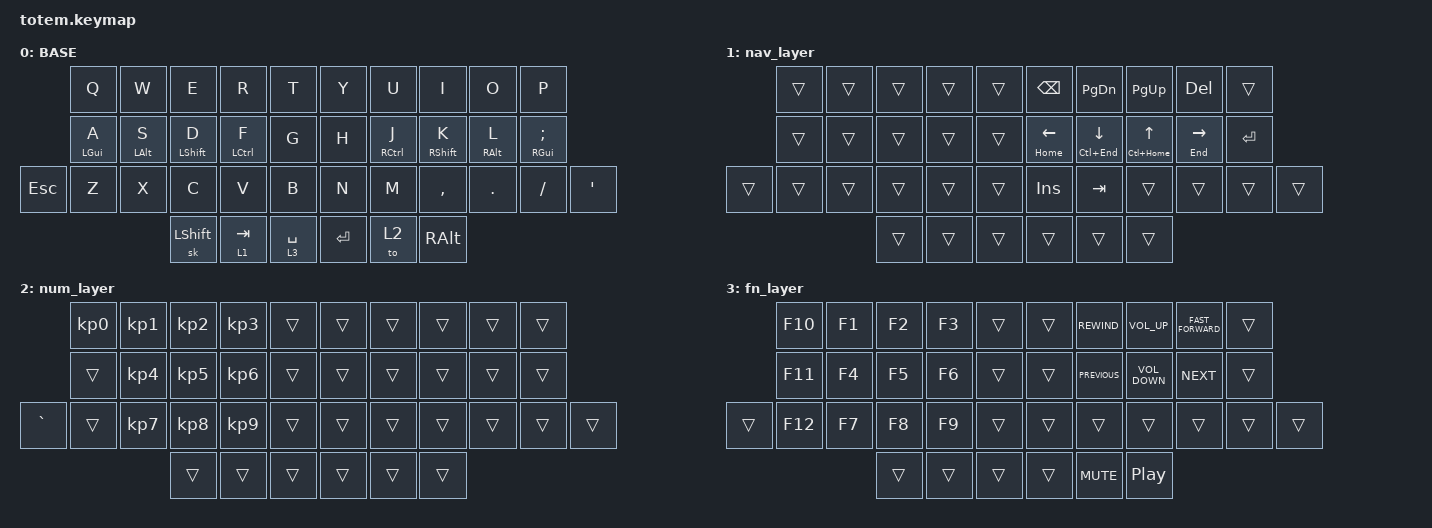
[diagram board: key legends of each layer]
//
//                                                        ▀▀▀▀▀     ▀▀▀▀▀          ▀▀█▀▀
//                                                        ▄▀▀▀▄  ▄  ▄▀▀▀▄  ▄  ▄▀▀▀▄  █  ▄▀▀▀▄
//                                                        █   █  █  █   █  █  █   █  █  █   █
//                                                         ▀▀▀   █   ▀▀▀   █   ▀▀▀   ▀   ▀▀▀
//                                                               █      ▄▄▄█▄▄▄    █   █  
//                                                               ▀      █  █  █     █▄█
//                                                             ▀▀▀▀▀    █  █  █      ▀
//                                                                      ▀  ▀  ▀
//
// ▄▄▄▄▄▄▄▄▄▄▄▄▄▄▄▄▄▄▄▄▄▄▄▄▄▄▄▄▄▄▄▄▄▄▄▄▄▄▄▄▄▄▄▄▄▄▄▄▄▄▄▄▄▄▄▄▄▄▄▄▄▄▄▄▄▄▄▄▄▄▄▄▄▄▄▄▄▄▄▄▄▄▄▄▄▄▄▄▄▄▄▄▄▄▄▄▄▄▄▄▄▄▄▄▄▄▄▄▄▄▄▄▄▄▄▄▄▄▄▄▄▄▄▄▄▄▄▄▄▄▄▄▄▄▄▄▄▄▄▄▄▄▄▄▄▄▄▄▄

#include <behaviors.dtsi>
#include <dt-bindings/zmk/keys.h>

#define BASE 0
#define NAV  1
#define SYM  2
#define ADJ  3
#define TVP1 4
#define TVP2 5

/ {
    combos {
        compatible = "zmk,combos";

        excl-sym {
            bindings = <&kp EXCLAMATION>;
            key-positions = <0 10>;
        };

        at-sym {
            bindings = <&kp AT_SIGN>;
            key-positions = <1 11>;
        };

        hash-sym {
            bindings = <&kp HASH>;
            key-positions = <2 12>;
        };

        dollar-sym {
            bindings = <&kp DOLLAR>;
            key-positions = <3 13>;
        };

        percent-sym {
            bindings = <&kp PERCENT>;
            key-positions = <4 14>;
        };

        caret-sym {
            bindings = <&kp CARET>;
            key-positions = <5 15>;
        };

        ampersand-sym {
            bindings = <&kp AMPERSAND>;
            key-positions = <18 8>;
        };

        plus-sym {
            bindings = <&kp PLUS>;
            key-positions = <6 16>;
        };

        asterisk-sym {
            bindings = <&kp ASTERISK>;
            key-positions = <7 17>;
        };

        esc {
            bindings = <&kp ESCAPE>;
            key-positions = <2 1>;
        };

        enter {
            bindings = <&kp ENTER>;
            key-positions = <2 3>;
        };

        backspace {
            bindings = <&kp BACKSPACE>;
            key-positions = <6 7>;
        };

        del {
            bindings = <&kp DEL>;
            key-positions = <7 8>;
        };

        tab {
            bindings = <&kp TAB>;
            key-positions = <11 12>;
        };
    };

    macros {
        gif: gif {
            label = "giphy";
            compatible = "zmk,behavior-macro";
            #binding-cells = <0>;
            bindings =
                <&macro_press>,
                <&kp LSHFT>,
                <&macro_tap>,
                <&kp N2>,
                <&macro_release>,
                <&kp LSHFT>,
                <&macro_tap>,
                <&kp G &kp I &kp F>;
        };
    };

    behaviors {
        hml: hml {
            compatible = "zmk,behavior-hold-tap";
            label = "HML";
            bindings = <&kp>, <&kp>;

            #binding-cells = <2>;
            tapping-term-ms = <280>;
            quick-tap-ms = <175>;
            require-prior-idle-ms = <150>;
            flavor = "balanced";
            hold-trigger-on-release;
            hold-trigger-key-positions = <32 33 34 35 36 37 5 6 7 8 9 15 16 17 18 19 26 27 28 29 30 31 36 37>;
        };

        hmr: hmr {
            compatible = "zmk,behavior-hold-tap";
            label = "HMR";
            bindings = <&kp>, <&kp>;

            #binding-cells = <2>;
            tapping-term-ms = <280>;
            quick-tap-ms = <175>;
            require-prior-idle-ms = <150>;
            flavor = "balanced";
            hold-trigger-on-release;
            hold-trigger-key-positions = <20 21 32 33 34 35 36 37 0 1 2 3 4 10 11 12 13 14 22 23 24 25>;
        };
    };

    keymap {
        compatible = "zmk,keymap";

        // ▄▄▄▄▄▄▄▄▄▄▄▄▄▄▄▄▄▄▄▄▄▄▄▄▄▄▄▄▄▄▄▄▄▄▄▄▄▄▄▄▄▄▄▄▄▄▄▄▄▄▄▄▄▄▄▄▄▄▄▄▄▄▄▄▄▄▄▄▄▄▄▄▄▄▄▄▄▄▄▄▄▄▄▄▄▄▄▄▄▄▄▄▄▄▄▄▄▄▄▄▄▄▄▄▄▄▄▄▄▄▄▄▄▄▄▄▄▄▄▄▄▄▄▄▄▄▄▄▄▄▄▄▄▄▄▄▄▄▄▄▄▄▄▄▄▄▄▄▄

        base_layer {
            // ┏━━━━━━━━━━━━━━━━━━━━━━━━━━━━━━━━━━━━━━━┓

            label = "BASE";

            // ┗━━━━━━━━━━━━━━━━━━━━━━━━━━━━━━━━━━━━━━━┛
            //             ┏━━━━━━━━━━━┳━━━━━━━━━━━┳━━━━━━━━━━━┳━━━━━━━━━━━┳━━━━━━━━━━━┓   ┏━━━━━━━━━━━┳━━━━━━━━━━━┳━━━━━━━━━━━┳━━━━━━━━━━━┳━━━━━━━━━━━┓
            //             ┃     Q     ┃     W     ┃     F     ┃     P     ┃     G     ┃   ┃     J     ┃     L     ┃     U     ┃     Y     ┃     ;     ┃
            //             ┣━━━━━━━━━━━╋━━━━━━━━━━━╋━━━━━━━━━━━╋━━━━━━━━━━━╋━━━━━━━━━━━┫   ┣━━━━━━━━━━━╋━━━━━━━━━━━╋━━━━━━━━━━━╋━━━━━━━━━━━╋━━━━━━━━━━━┫
            //             ┃     A     ┃     R     ┃     S     ┃     T     ┃     D     ┃   ┃     H     ┃     N     ┃     E     ┃     I     ┃     O     ┃
            // ┏━━━━━━━━━━━╋━━━━━━━━━━━╋━━━━━━━━━━━╋━━━━━━━━━━━╋━━━━━━━━━━━╋━━━━━━━━━━━┫   ┣━━━━━━━━━━━╋━━━━━━━━━━━╋━━━━━━━━━━━╋━━━━━━━━━━━╋━━━━━━━━━━━╋━━━━━━━━━━━┓
            // ┃     Q     ┃     Z     ┃     X     ┃     C     ┃     V     ┃     B     ┃   ┃     K     ┃     M     ┃     ,     ┃     .     ┃     /     ┃     \     ┃
            // ┗━━━━━━━━━━━┻━━━━━━━━━━━┻━━━━━━━━━━━╋━━━━━━━━━━━╋━━━━━━━━━━━╋━━━━━━━━━━━┫   ┣━━━━━━━━━━━╋━━━━━━━━━━━╋━━━━━━━━━━━╋━━━━━━━━━━━┻━━━━━━━━━━━┻━━━━━━━━━━━┛
            //                                     ┃    DEL    ┃    TAB    ┃    SPC    ┃   ┃   ENTER   ┃           ┃   BSPC    ┃
            //                                     ┗━━━━━━━━━━━┻━━━━━━━━━━━┻━━━━━━━━━━━┛   ┗━━━━━━━━━━━┻━━━━━━━━━━━┻━━━━━━━━━━━┛

            bindings = <
         &kp Q            &kp W            &kp E              &kp R                &kp T          &kp Y    &kp U                 &kp I               &kp O             &kp P
         &hml LEFT_GUI A  &hml LEFT_ALT S  &hml LEFT_SHIFT D  &hml LEFT_CONTROL F  &kp G          &kp H    &hmr RIGHT_CONTROL J  &hmr RIGHT_SHIFT K  &hmr RIGHT_ALT L  &hmr RIGHT_GUI SEMI
&kp ESC  &kp Z            &kp X            &kp C              &kp V                &kp B          &kp N    &kp M                 &kp COMMA           &kp DOT           &kp FSLH             &kp SQT
                                           &sk LEFT_SHIFT     &lt 1 TAB            &lt 3 SPACE    &kp RET  &to 2                 &kp RIGHT_ALT
            >;
        };

        nav_layer {
            bindings = <
        &trans  &trans  &trans  &trans  &trans    &kp BACKSPACE        &kp PAGE_DOWN           &kp PAGE_UP            &kp DEL              &trans
        &trans  &trans  &trans  &trans  &trans    &mt HOME LEFT_ARROW  &mt LC(END) DOWN_ARROW  &mt LC(HOME) UP_ARROW  &mt END RIGHT_ARROW  &kp ENTER
&trans  &trans  &trans  &trans  &trans  &trans    &kp INS              &kp TAB                 &trans                 &trans               &trans     &trans
                        &trans  &trans  &trans    &trans               &trans                  &trans
            >;
        };

        num_layer {
            bindings = <
           &kp KP_NUMBER_0  &kp KP_NUMBER_1  &kp KP_NUMBER_2  &kp KP_NUMBER_3  &trans    &trans  &trans  &trans  &trans  &trans
           &trans           &kp KP_NUMBER_4  &kp KP_NUMBER_5  &kp KP_NUMBER_6  &trans    &trans  &trans  &trans  &trans  &trans
&kp GRAVE  &trans           &kp KP_NUMBER_7  &kp KP_NUMBER_8  &kp KP_NUMBER_9  &trans    &trans  &trans  &trans  &trans  &trans  &trans
                                             &trans           &trans           &trans    &trans  &trans  &trans
            >;
        };

        fn_layer {
            bindings = <
        &kp F10  &kp F1  &kp F2  &kp F3  &trans    &trans  &kp C_REWIND    &kp C_VOLUME_UP    &kp C_FAST_FORWARD  &trans
        &kp F11  &kp F4  &kp F5  &kp F6  &trans    &trans  &kp C_PREVIOUS  &kp C_VOLUME_DOWN  &kp C_NEXT          &trans
&trans  &kp F12  &kp F7  &kp F8  &kp F9  &trans    &trans  &trans          &trans             &trans              &trans  &trans
                         &trans  &trans  &trans    &trans  &kp C_MUTE      &kp C_PLAY_PAUSE
            >;
        };

        // ▄▄▄▄▄▄▄▄▄▄▄▄▄▄▄▄▄▄▄▄▄▄▄▄▄▄▄▄▄▄▄▄▄▄▄▄▄▄▄▄▄▄▄▄▄▄▄▄▄▄▄▄▄▄▄▄▄▄▄▄▄▄▄▄▄▄▄▄▄▄▄▄▄▄▄▄▄▄▄▄▄▄▄▄▄▄▄▄▄▄▄▄▄▄▄▄▄▄▄▄▄▄▄▄▄▄▄▄▄▄▄▄▄▄▄▄▄▄▄▄▄▄▄▄▄▄▄▄▄▄▄▄▄▄▄▄▄▄▄▄▄▄▄▄▄▄▄▄▄
        // ▄▄▄▄▄▄▄▄▄▄▄▄▄▄▄▄▄▄▄▄▄▄▄▄▄▄▄▄▄▄▄▄▄▄▄▄▄▄▄▄▄▄▄▄▄▄▄▄▄▄▄▄▄▄▄▄▄▄▄▄▄▄▄▄▄▄▄▄▄▄▄▄▄▄▄▄▄▄▄▄▄▄▄▄▄▄▄▄▄▄▄▄▄▄▄▄▄▄▄▄▄▄▄▄▄▄▄▄▄▄▄▄▄▄▄▄▄▄▄▄▄▄▄▄▄▄▄▄▄▄▄▄▄▄▄▄▄▄▄▄▄▄▄▄▄▄▄▄▄
        // ▄▄▄▄▄▄▄▄▄▄▄▄▄▄▄▄▄▄▄▄▄▄▄▄▄▄▄▄▄▄▄▄▄▄▄▄▄▄▄▄▄▄▄▄▄▄▄▄▄▄▄▄▄▄▄▄▄▄▄▄▄▄▄▄▄▄▄▄▄▄▄▄▄▄▄▄▄▄▄▄▄▄▄▄▄▄▄▄▄▄▄▄▄▄▄▄▄▄▄▄▄▄▄▄▄▄▄▄▄▄▄▄▄▄▄▄▄▄▄▄▄▄▄▄▄▄▄▄▄▄▄▄▄▄▄▄▄▄▄▄▄▄▄▄▄▄▄▄▄
        // ▄▄▄▄▄▄▄▄▄▄▄▄▄▄▄▄▄▄▄▄▄▄▄▄▄▄▄▄▄▄▄▄▄▄▄▄▄▄▄▄▄▄▄▄▄▄▄▄▄▄▄▄▄▄▄▄▄▄▄▄▄▄▄▄▄▄▄▄▄▄▄▄▄▄▄▄▄▄▄▄▄▄▄▄▄▄▄▄▄▄▄▄▄▄▄▄▄▄▄▄▄▄▄▄▄▄▄▄▄▄▄▄▄▄▄▄▄▄▄▄▄▄▄▄▄▄▄▄▄▄▄▄▄▄▄▄▄▄▄▄▄▄▄▄▄▄▄▄▄
        // ▄▄▄▄▄▄▄▄▄▄▄▄▄▄▄▄▄▄▄▄▄▄▄▄▄▄▄▄▄▄▄▄▄▄▄▄▄▄▄▄▄▄▄▄▄▄▄▄▄▄▄▄▄▄▄▄▄▄▄▄▄▄▄▄▄▄▄▄▄▄▄▄▄▄▄▄▄▄▄▄▄▄▄▄▄▄▄▄▄▄▄▄▄▄▄▄▄▄▄▄▄▄▄▄▄▄▄▄▄▄▄▄▄▄▄▄▄▄▄▄▄▄▄▄▄▄▄▄▄▄▄▄▄▄▄▄▄▄▄▄▄▄▄▄▄▄▄▄▄
    };
};
